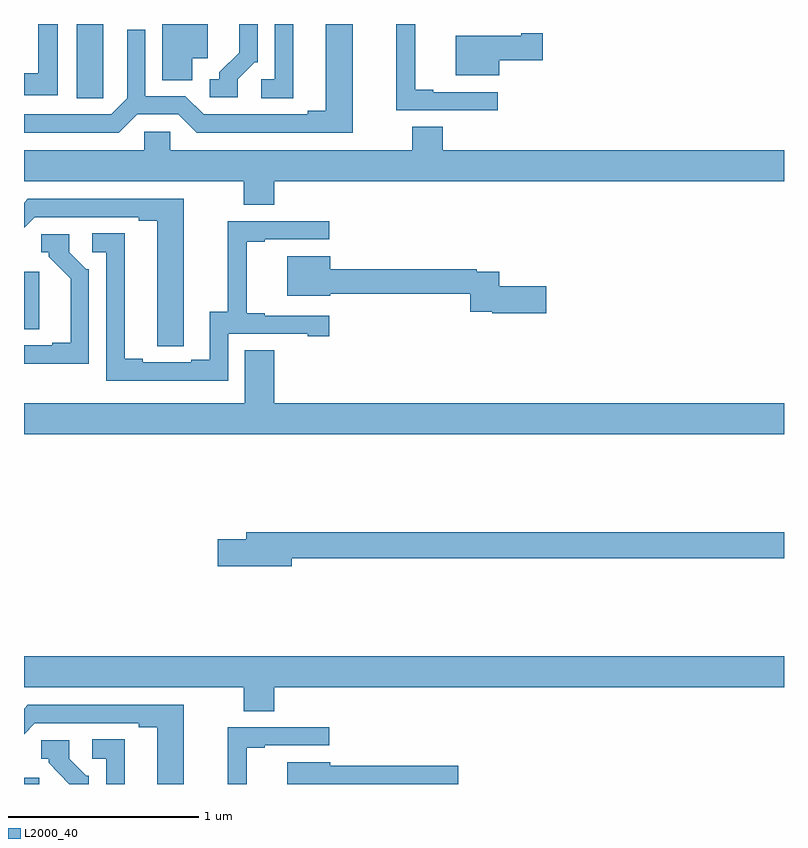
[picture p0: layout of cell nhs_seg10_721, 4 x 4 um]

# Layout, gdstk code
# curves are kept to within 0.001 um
import gdstk
lib = gdstk.Library(unit=1e-6, precision=1e-09)
def R(c, l, rs):  # rectangles x0, y0, x1, y1
    for r in rs: c.add(gdstk.rectangle(r[:2], r[2:], *l))
def P(c, l, *ps):  # polygons
    for p in ps: c.add(gdstk.Polygon(p, *l))
L2000_40 = (2000, 40)

nhs_seg10_721 = lib.new_cell('nhs_seg10_721')
R(nhs_seg10_721, L2000_40, [(147,1274.5,147.079,1274.533), (147,1276.894,147.079,1277.197)])
P(nhs_seg10_721, L2000_40, [(148.125,1278.21),(148.215,1278.3),(148.23,1278.3),(148.23,1278.5),(148.133,1278.5),(148.133,1278.35),(148.028,1278.245),(148.028,1278.21),(147.978,1278.21),(147.978,1278.114),(148.125,1278.114)],
  [(147.178,1278.5),(147.074,1278.5),(147.074,1278.242),(147,1278.242),(147,1278.126),(147.178,1278.126)],
  [(149.494,1278.141),(149.155,1278.141),(149.155,1278.154),(149.06,1278.154),(149.06,1278.5),(148.96,1278.5),(148.96,1278.045),(149.494,1278.045)],
  [(148.417,1278.5),(148.32,1278.5),(148.32,1278.21),(148.248,1278.21),(148.248,1278.109),(148.417,1278.109)],
  [(147.595,1278.024),(147.813,1278.024),(147.909,1277.928),(148.729,1277.928),(148.729,1278.5),(148.589,1278.5),(148.589,1278.044),(148.493,1278.044),(148.493,1278.024),(147.945,1278.024),(147.849,1278.12),(147.639,1278.12),(147.639,1278.469),(147.543,1278.469),(147.543,1278.108),(147.459,1278.024),(147,1278.024),(147,1277.928),(147.499,1277.928)],
  [(147.417,1278.217),(147.418,1278.217),(147.418,1278.5),(147.278,1278.5),(147.278,1278.109),(147.417,1278.109)],
  [(147.886,1278.32),(147.967,1278.32),(147.967,1278.5),(147.728,1278.5),(147.728,1278.205),(147.886,1278.205)],
  [(149.5,1278.31),(149.731,1278.31),(149.731,1278.452),(149.618,1278.452),(149.618,1278.439),(149.273,1278.439),(149.273,1278.23),(149.5,1278.23)],
  [(148.316,1277.672),(151,1277.672),(151,1277.836),(149.204,1277.836),(149.204,1277.96),(149.044,1277.96),(149.044,1277.836),(147.771,1277.836),(147.771,1277.934),(147.633,1277.934),(147.633,1277.836),(147,1277.836),(147,1277.672),(148.156,1277.672),(148.156,1277.548),(148.316,1277.548)],
  [(147.84,1276.912),(147.841,1276.912),(147.841,1277.58),(147.021,1277.58),(147,1277.559),(147,1277.427),(147.057,1277.484),(147.605,1277.484),(147.605,1277.464),(147.701,1277.464),(147.701,1276.804),(147.84,1276.804)],
  [(148.074,1276.869),(148.493,1276.869),(148.493,1276.857),(148.606,1276.857),(148.606,1276.965),(148.267,1276.965),(148.267,1276.978),(148.172,1276.978),(148.172,1277.355),(148.267,1277.355),(148.267,1277.367),(148.606,1277.367),(148.606,1277.463),(148.072,1277.463),(148.072,1276.985),(147.977,1276.985),(147.977,1276.734),(147.881,1276.734),(147.881,1276.719),(147.625,1276.719),(147.625,1276.739),(147.529,1276.739),(147.529,1277.399),(147.36,1277.399),(147.36,1277.298),(147.432,1277.298),(147.432,1276.623),(148.074,1276.623)],
  [(147.342,1277.208),(147.327,1277.208),(147.237,1277.298),(147.237,1277.394),(147.09,1277.394),(147.09,1277.298),(147.129,1277.298),(147.129,1277.275),(147.245,1277.158),(147.245,1276.822),(147.149,1276.822),(147.149,1276.809),(147,1276.809),(147,1276.713),(147.342,1276.712)],
  [(149.749,1277.12),(149.501,1277.12),(149.501,1277.196),(149.384,1277.196),(149.384,1277.209),(148.612,1277.209),(148.612,1277.278),(148.385,1277.278),(148.385,1277.069),(148.612,1277.069),(148.612,1277.08),(149.348,1277.08),(149.348,1276.985),(149.464,1276.985),(149.464,1276.978),(149.749,1276.978)],
  [(151,1276.504),(148.316,1276.504),(148.316,1276.784),(148.163,1276.784),(148.163,1276.504),(147,1276.504),(147,1276.34),(151,1276.34)],
  [(148.408,1275.688),(151,1275.688),(151,1275.824),(148.169,1275.824),(148.169,1275.788),(148.02,1275.788),(148.02,1275.646),(148.408,1275.646)],
  [(148.316,1275.008),(151,1275.008),(151,1275.172),(147,1275.172),(147,1275.008),(148.156,1275.008),(148.156,1274.884),(148.316,1274.884)],
  [(147.841,1274.916),(147.021,1274.916),(147,1274.895),(147,1274.763),(147.057,1274.82),(147.605,1274.82),(147.605,1274.8),(147.701,1274.8),(147.701,1274.5),(147.841,1274.5)],
  [(148.172,1274.691),(148.267,1274.691),(148.267,1274.703),(148.606,1274.703),(148.606,1274.799),(148.072,1274.799),(148.072,1274.5),(148.172,1274.5)],
  [(147.529,1274.735),(147.36,1274.735),(147.36,1274.634),(147.432,1274.634),(147.432,1274.5),(147.529,1274.5)],
  [(147.342,1274.544),(147.327,1274.544),(147.237,1274.634),(147.237,1274.73),(147.09,1274.73),(147.09,1274.634),(147.129,1274.634),(147.129,1274.611),(147.239,1274.5),(147.342,1274.5)],
  [(149.285,1274.596),(148.612,1274.596),(148.612,1274.614),(148.385,1274.614),(148.385,1274.5),(149.285,1274.5)])

lib.write_gds('nhs_seg10_721.gds')
